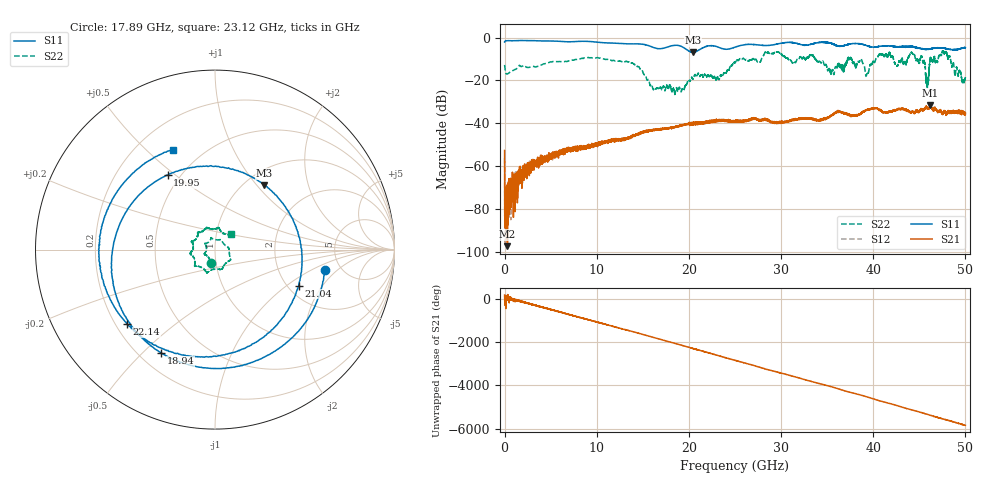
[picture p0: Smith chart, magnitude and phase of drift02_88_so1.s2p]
!Created with skrf (http://scikit-rf.org).
# Hz S RI R 50.0
!freq ReS11 ImS11 ReS21 ImS21 ReS12 ImS12 ReS22 ImS22
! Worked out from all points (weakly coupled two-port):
!   10001 points, 300 kHz to 50 GHz, reference 50 ohm
!   highest |S21| = -31.59 dB at 46.16 GHz (marker M1); lowest = -97.4 dB at 310.3 MHz (marker M2)
!   lowest |S11| = -6.9 dB at 20.45 GHz (marker M3), VSWR 2.64, Z = 60.6 + j54.6 ohm
!   |S11| at or under -10 dB: nowhere
!   |S22| runs from -26.6 to -5.9 dB; largest |S21 - S12| = 0.0038
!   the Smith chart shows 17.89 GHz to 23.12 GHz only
!   S11 on the Smith chart (normalised r, x): 17.89 GHz: 3.73, -1.40; 18.94 GHz: 0.29, -0.57; 19.95 GHz: 0.43, +0.47; 21.04 GHz: 2.29, -1.24; 22.14 GHz: 0.25, -0.35; 23.12 GHz: 0.35, +0.61
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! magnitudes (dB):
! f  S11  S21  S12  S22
! 300 kHz  -2.1  -52.7  -56.3  -12.8
! 310.3 MHz  -1.4  -97.4  -79.1  -16.9
! 3.15 GHz  -1.4  -59.0  -60.2  -13.5
! 8.335 GHz  -1.7  -51.6  -52.1  -9.7
! 13.7 GHz  -2.9  -46.5  -46.4  -11.7
! 16.67 GHz  -5.2  -42.8  -42.9  -23.8
! 17.89 GHz  -4.1  -42.1  -42.1  -22.1
! 18.94 GHz  -3.8  -41.3  -41.2  -23.2
! 19.95 GHz  -6.2  -40.2  -40.4  -19.7
! 20.45 GHz  -6.9  -40.1  -39.7  -19.3
! 21.04 GHz  -5.9  -39.8  -40.1  -16.7
! 22.14 GHz  -3.9  -39.6  -40.0  -17.7
! 23.12 GHz  -4.4  -38.3  -38.7  -18.2
! 25 GHz  -4.5  -39.2  -39.1  -11.6
! 33.34 GHz  -3.1  -38.2  -37.9  -8.3
! 39.33 GHz  -3.8  -33.8  -33.8  -16.6
! 41.67 GHz  -3.9  -34.6  -34.6  -7.8
! 44.27 GHz  -4.3  -34.4  -34.6  -7.5
! 45.85 GHz  -5.5  -32.6  -33.0  -20.7
! 46.16 GHz  -5.3  -31.6  -32.2  -10.4
! 47.74 GHz  -4.9  -34.7  -34.2  -7.4
! 50 GHz  -4.7  -35.6  -35.6  -18.4
